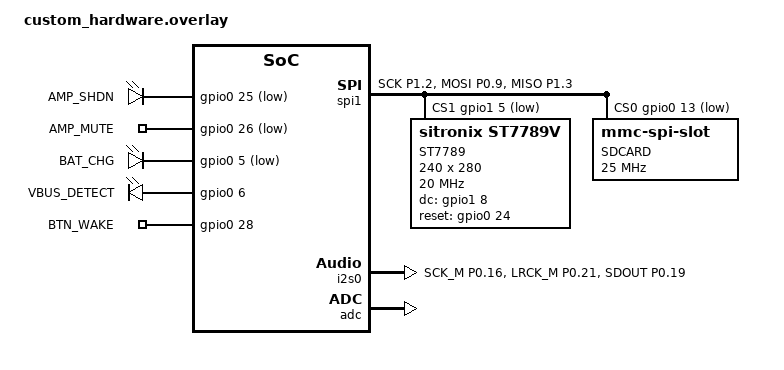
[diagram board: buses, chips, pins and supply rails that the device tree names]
/*
 * Copyright (c) 2025 Custom Hardware Configuration
 *
 * SPDX-License-Identifier: LicenseRef-Nordic-5-Clause
 * 
 * Device tree overlay for custom audio hardware with:
 * - SPI1 for LCD display (ST7789) and MicroSD card
 * - I2S0 for PCM5102A DAC audio output
 * - ADC for resistor ladder buttons on AIN0
 * - GPIO controls for amplifier and charging
 */

&spi1 {
	status = "okay";
	cs-gpios = <&gpio0 13 GPIO_ACTIVE_LOW>,  /* MSD_CS - MicroSD chip select */
	           <&gpio1 5 GPIO_ACTIVE_LOW>;   /* SST_CS - ST7789 chip select */
	
	pinctrl-0 = <&spi1_default>;
	pinctrl-1 = <&spi1_sleep>;
	pinctrl-names = "default", "sleep";

	/* ST7789 LCD Display */
	lcd_st7789: st7789@1 {
		compatible = "sitronix,st7789v";
		reg = <1>;
		spi-max-frequency = <20000000>;
		
		width = <240>;
		height = <280>;
		x-offset = <0>;
		y-offset = <20>;
		madctl = <0x00>;
		colmod = <0x05>;
		
		/* Display control GPIO pins */
		dc-gpios = <&gpio1 8 GPIO_ACTIVE_HIGH>;  /* SST_DC - Data/Command */
		reset-gpios = <&gpio0 24 GPIO_ACTIVE_HIGH>;  /* SST_RES - Hardware Reset */
		
		label = "ST7789";
	};

	/* MicroSD Card via SPI */
	mmc_spi: mmc_spi@0 {
		compatible = "zephyr,mmc-spi-slot";
		reg = <0>;
		spi-max-frequency = <25000000>;
		label = "SDCARD";
	};
};

/* Configure SPI1 pins: SCK=P1.02, MOSI=P0.09, MISO=P1.03 */
&pinctrl {
	spi1_default: spi1_default {
		group1 {
			psels = <NRF_PSEL(SPIM_SCK, 1, 2)>,   /* P1.02 - SCK */
				<NRF_PSEL(SPIM_MOSI, 0, 9)>,  /* P0.09 - MOSI */
				<NRF_PSEL(SPIM_MISO, 1, 3)>;  /* P1.03 - MISO */
			bias-disable;
		};
	};

	spi1_sleep: spi1_sleep {
		group1 {
			psels = <NRF_PSEL(SPIM_SCK, 1, 2)>,
				<NRF_PSEL(SPIM_MOSI, 0, 9)>,
				<NRF_PSEL(SPIM_MISO, 1, 3)>;
			low-power-enable;
		};
	};

	i2s0_default: i2s0_default {
		group1 {
			psels = <NRF_PSEL(I2S_SCK_M, 0, 16)>,  /* P0.16 - BCK (Bit Clock) */
				<NRF_PSEL(I2S_LRCK_M, 0, 21)>,     /* P0.21 - LRCK (Word Select) */
				<NRF_PSEL(I2S_SDOUT, 0, 19)>;      /* P0.19 - DIN (Data Output to DAC) */
			bias-disable;
		};
	};

	i2s0_sleep: i2s0_sleep {
		group1 {
			psels = <NRF_PSEL(I2S_SCK_M, 0, 16)>,
				<NRF_PSEL(I2S_LRCK_M, 0, 21)>,
				<NRF_PSEL(I2S_SDOUT, 0, 19)>;
			low-power-enable;
		};
	};
};

/* I2S0 Audio Interface - PCM5102A DAC */
&i2s0 {
	status = "okay";
	pinctrl-0 = <&i2s0_default>;
	pinctrl-1 = <&i2s0_sleep>;
	pinctrl-names = "default", "sleep";
};

/* ADC for button ladder and battery sensing */
&adc {
	status = "okay";
	
};

/* GPIO Pin Definitions and Controls */
&gpio0 {
	status = "okay";
};

&gpio1 {
	status = "okay";
};

/* Amplifier Control GPIO */
/ {
	amp_control {
		compatible = "gpio-leds";
		status = "okay";
		
		/* TPA6132A2 Amplifier Shutdown (Active Low) */
		amp_shutdown: amp_shutdown {
			gpios = <&gpio0 25 GPIO_ACTIVE_LOW>;
			label = "AMP_SHDN";
		};
		
		/* Audio Output Mute Control */
		amp_mute: amp_mute {
			gpios = <&gpio0 26 GPIO_ACTIVE_LOW>;
			label = "AMP_MUTE";
		};
	};

	power_monitoring {
		compatible = "gpio-leds";
		status = "okay";
		
		/* Battery Charger Status (Open-Drain, MCP73831 STAT pin) */
		bat_chg: bat_chg {
			gpios = <&gpio0 5 GPIO_ACTIVE_LOW>;
			label = "BAT_CHG";
		};
		
		/* USB VBUS Detection */
		vbus_detect: vbus_detect {
			gpios = <&gpio0 6 GPIO_ACTIVE_HIGH>;
			label = "VBUS_DETECT";
		};
		
		/* Button Wake Interrupt - Rising edge trigger */
		btn_wake: btn_wake {
			gpios = <&gpio0 28 GPIO_ACTIVE_HIGH>;
			label = "BTN_WAKE";
		};
	};
};
